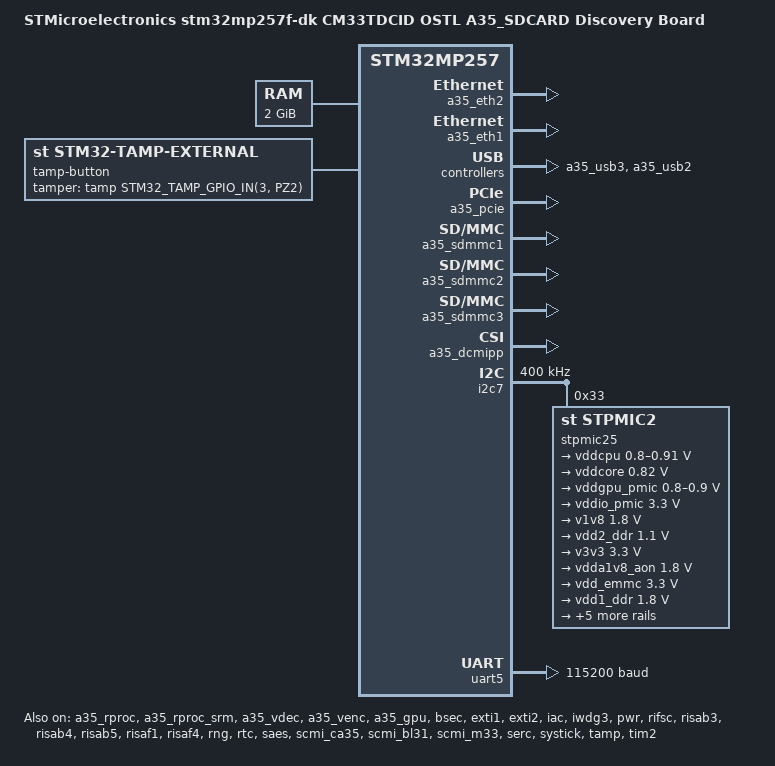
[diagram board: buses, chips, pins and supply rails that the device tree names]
// SPDX-License-Identifier: (GPL-2.0-only OR BSD-3-Clause)
/*
 * Copyright (C) 2025, STMicroelectronics - All Rights Reserved
 */

/dts-v1/;

#include <dt-bindings/clock/stm32mp25-clksrc.h>
#include <dt-bindings/ipcc/stm32mp25-ipcc.h>
#include <dt-bindings/power/stm32mp25-power.h>
#include <dt-bindings/regulator/stm32mp25-regulator.h>
#include <dt-bindings/reset/st,stm32mp25-rcc.h>
#include <dt-bindings/rif/stm32mp25-rif.h>
#include <dt-bindings/rif/stm32mp25-rifsc.h>
#include <dt-bindings/rif/stm32mp2-risaf.h>
#include <dt-bindings/rif/stm32mp25-risab.h>
#include <dt-bindings/tamp/st,stm32mp25-tamp.h>
#include <dt-bindings/gpio/st,stm32mp25-tamp-gpio.h>

#include "stm32mp257.dtsi"
#include "stm32mp25xf.dtsi"
#include "stm32mp257f-dk-cm33tdcid-ostl-resmem.dtsi"
#include "stm32mp257f-dk-cm33tdcid-ostl-rcc.dtsi"
#include "stm32mp257f-dk-cm33tdcid-ostl-scmi.dtsi"
#include "stm32mp257f-dk-cm33tdcid-ostl-s-rif.dtsi"
#include "stm32mp257f-dk-cm33tdcid-ostl-s-rif-ca35-sdcard.dtsi"
#include "stm32mp25-pinctrl.dtsi"
#include "stm32mp25xxai-pinctrl.dtsi"

/ {
	model = "STMicroelectronics stm32mp257f-dk CM33TDCID OSTL A35_SDCARD Discovery Board";
	compatible = "st,stm32mp257f-dk-cm33tdcid-ostl-sdcard", "st,stm32mp257f-dk", "st,stm32mp257";

	aliases {
		serial0 = &uart5;
	};

	chosen {
		stdout-device = &uart5;
		tfm,entropy = &rng;
		tfm,watchdog = &iwdg3;
	};

	memory@80000000 {
		device_type = "memory";
		reg = <0x80000000 0x80000000>;
	};
};

&nvram {
	status = "okay";

	nvmem-layout {
		#address-cells = <1>;
		#size-cells = <1>;
		rsc_tbl_addr_m33td: tamp-bkp@1e4 {
			#nvmem-cell-cells = <0>;
			reg = <0x1e4 0x4>;
		};
		rsc_tbl_size_m33td: tamp-bkp@1e8 {
			#nvmem-cell-cells = <0>;
			reg = <0x1e8 0x4>;
		};
	};
};

&a35_rproc {
	nvmem-cells = <&rsc_tbl_addr_m33td>, <&rsc_tbl_size_m33td>;
	nvmem-cell-names = "rsc_tab_addr","rsc_tab_size";
	regus = <&vddio_sdcard>, <&vdd_sdcard>;

	status = "okay";
};

&a35_rproc_srm {
	status = "okay";
};

&a35_eth2 {
	status = "okay";
};

&a35_eth1 {
	status = "okay";
};

&a35_usb3 {
	status = "okay";
};

&a35_usb2 {
	status = "okay";
};

&a35_vdec {
	status = "okay";
};

&a35_venc {
	status = "okay";
};

&a35_pcie{
	status = "okay";
};

&a35_sdmmc1 {
	status = "okay";
};

&a35_sdmmc2{
	status = "okay";
};

&a35_sdmmc3 {
	status = "okay";
};

&a35_dcmipp {
	status = "okay";
};

&a35_hpdma {
	status = "okay";
};

&a35_gpu {
	vin-supply = <&vddgpu>;
	status = "okay";
};

&bsec {
	memory-region = <&bsec_mirror>;
	status = "okay";
};

&cpu0 {
	enable-method = "remoteproc";
	remoteprocs = <&a35_rproc>;
	cpu-supply = <&vddcpu>;
};

&exti1 {
	status = "okay";
};

&exti2 {
	status = "okay";
};

&hconf1_otp {
	shadow-provisionning = <0x00018db6>;
};

&hpdma1 {
	status = "okay";
};

&hpdma2 {
	status = "okay";
};

&hpdma3 {
	status = "okay";
};

&i2c7 {
	pinctrl-names = "default", "sleep";
	pinctrl-0 = <&i2c7_pins_a>;
	pinctrl-1 = <&i2c7_sleep_pins_a>;
	i2c-scl-rising-time-ns = <185>;
	i2c-scl-falling-time-ns = <20>;
	clock-frequency = <400000>;
	status = "okay";

	#address-cells = <1>;
	#size-cells = <0>;

	stpmic25: pmic@33 {
		compatible = "st,stpmic2";
		reg = <0x33>;
		status = "okay";

		regulators {
			compatible = "st,stpmic2-regulators";

			vddcpu: buck1 {
				regulator-name = "vddcpu";
				regulator-min-microvolt = <800000>;
				regulator-max-microvolt = <910000>;
				regulator-always-on;
				st,pwrctrl-sel = <2>;
				st,pwrctrl-enable;

				default {
					regulator-off-in-suspend;
				};
				lplv {
					regulator-off-in-suspend;
				};
				standby {
					regulator-off-in-suspend;
				};
				off {
					regulator-off-in-suspend;
				};
			};
			vddcore: buck2 {
				regulator-name = "vddcore";
				regulator-min-microvolt = <820000>;
				regulator-max-microvolt = <820000>;
				regulator-always-on;
				st,pwrctrl-sel = <1>;
				st,pwrctrl-enable;

				default {
					regulator-on-in-suspend;
					regulator-suspend-microvolt = <820000>;
				};
				lplv {
					regulator-on-in-suspend;
					regulator-suspend-microvolt = <670000>;
				};
				standby {
					regulator-off-in-suspend;
				};
				off {
					regulator-off-in-suspend;
				};
			};
			vddgpu_pmic: buck3 {
				regulator-name = "vddgpu_pmic";
				regulator-min-microvolt = <800000>;
				regulator-max-microvolt = <900000>;
				regulator-over-current-protection;

				standby {
					regulator-off-in-suspend;
				};
				off {
					regulator-off-in-suspend;
				};
			};
			vddio_pmic: buck4 {
				regulator-name = "vddio_pmic";
				regulator-min-microvolt = <3300000>;
				regulator-max-microvolt = <3300000>;
				regulator-always-on;
				st,mask-reset;
				st,pwrctrl-sel = <1>;
				st,pwrctrl-enable;

				default {
					regulator-on-in-suspend;
					regulator-suspend-microvolt = <3300000>;
				};
				lplv {
					regulator-on-in-suspend;
					regulator-suspend-microvolt = <3300000>;
				};
				standby {
					regulator-on-in-suspend;
					regulator-suspend-microvolt = <3300000>;
				};
				off {
					regulator-on-in-suspend;
					regulator-suspend-microvolt = <3300000>;
				};
			};
			v1v8: buck5 {
				regulator-name = "v1v8";
				regulator-min-microvolt = <1800000>;
				regulator-max-microvolt = <1800000>;
				regulator-always-on;
				st,pwrctrl-sel = <1>;
				st,pwrctrl-enable;

				default {
					regulator-on-in-suspend;
					regulator-suspend-microvolt = <1800000>;
				};
				lplv {
					regulator-on-in-suspend;
					regulator-suspend-microvolt = <1800000>;
				};
				standby {
					regulator-off-in-suspend;
				};
				off {
					regulator-off-in-suspend;
				};
			};
			vdd2_ddr: buck6 {
				regulator-name = "vdd2_ddr";
				regulator-min-microvolt = <1100000>;
				regulator-max-microvolt = <1100000>;
				regulator-always-on;
				st,pwrctrl-sel = <1>;
				st,pwrctrl-enable;

				default {
					regulator-on-in-suspend;
					regulator-suspend-microvolt = <1100000>;
				};
				lplv {
					regulator-on-in-suspend;
					regulator-suspend-microvolt = <1100000>;
				};
				standby {
					regulator-on-in-suspend;
					regulator-suspend-microvolt = <1100000>;
				};
				off {
					regulator-off-in-suspend;
				};
			};
			v3v3: buck7 {
				regulator-name = "v3v3";
				regulator-min-microvolt = <3300000>;
				regulator-max-microvolt = <3300000>;
				regulator-always-on;
				regulator-over-current-protection;
				st,pwrctrl-sel = <1>;
				st,pwrctrl-enable;

				default {
					regulator-on-in-suspend;
					regulator-suspend-microvolt = <3300000>;
				};
				lplv {
					regulator-on-in-suspend;
					regulator-suspend-microvolt = <3300000>;
				};
				standby {
					regulator-off-in-suspend;
				};
				off {
					regulator-off-in-suspend;
				};
			};
			vdda1v8_aon: ldo1 {
				regulator-name = "vdda1v8_aon";
				regulator-min-microvolt = <1800000>;
				regulator-max-microvolt = <1800000>;
				regulator-always-on;
				st,alternate-input-source;
				st,mask-reset;
			};
			vdd_emmc: ldo2 {
				regulator-name = "vdd_emmc";
				regulator-min-microvolt = <3300000>;
				regulator-max-microvolt = <3300000>;
				regulator-over-current-protection;
				st,pwrctrl-sel = <3>;
				st,pwrctrl-reset;
			};
			vdd1_ddr: ldo3 {
				regulator-name = "vdd1_ddr";
				regulator-min-microvolt = <1800000>;
				regulator-max-microvolt = <1800000>;
				regulator-always-on;
				st,pwrctrl-sel = <1>;
				st,pwrctrl-enable;

				default {
					regulator-on-in-suspend;
					regulator-suspend-microvolt = <1800000>;
				};
				lplv {
					regulator-on-in-suspend;
					regulator-suspend-microvolt = <1800000>;
				};
				standby {
					regulator-on-in-suspend;
					regulator-suspend-microvolt = <1800000>;
				};
				off {
					regulator-off-in-suspend;
				};
			};
			vdd3v3_usb: ldo4 {
				regulator-name = "vdd3v3_usb";
				regulator-min-microvolt = <3300000>;
				regulator-max-microvolt = <3300000>;
				regulator-over-current-protection;

				standby {
					regulator-off-in-suspend;
				};
				off {
					regulator-off-in-suspend;
				};
			};
			v5v_hdmi: ldo5 {
				regulator-name = "v5v_hdmi";
				regulator-min-microvolt = <5000000>;
				regulator-max-microvolt = <5000000>;
				st,regulator-bypass-microvolt = <5000000>;
				st,pwrctrl-sel = <0>;
				st,pwrctrl-enable;
			};
			v5v_vconn: ldo6 {
				regulator-name = "v5v_vconn";
				regulator-min-microvolt = <4000000>;
				regulator-max-microvolt = <4000000>;
				regulator-always-on;
				st,regulator-bypass-microvolt = <4000000>;
				st,pwrctrl-sel = <0>;
				st,pwrctrl-reset;
			};
			vdd_sdcard: ldo7 {
				regulator-name = "vdd_sdcard";
				regulator-min-microvolt = <3300000>;
				regulator-max-microvolt = <3300000>;
				regulator-over-current-protection;
				st,regulator-bypass-microvolt = <3300000>;
				st,pwrctrl-sel = <3>;
				st,pwrctrl-reset;
			};
			vddio_sdcard: ldo8 {
				regulator-name = "vddio_sdcard";
				regulator-min-microvolt = <1800000>;
				regulator-max-microvolt = <3300000>;
				regulator-over-current-protection;
				st,regulator-bypass-microvolt = <3300000>;
				st,pwrctrl-sel = <3>;
				st,pwrctrl-reset;
			};
		};
	};
};

&iac {
	status = "okay";
};

&ipcc1 {
	status = "okay";
};

&iwdg3 {
	status = "okay";
	timeout-sec = <120>;
};

&psa_mbox {
	status = "okay";
	mboxes = <&ipcc1 IPCC_CHANNEL(14)>;
	memory-region = <&psa_buffer_cid1_s>;
};

&pwr {
	status = "okay";

	pwr_rif: access-controller {
		status = "okay";
	};

	regulators {
		status = "okay";

		vdd33ucpd: vdd33ucpd {
			status = "okay";
			regulator-min-microvolt = <3300000>;
			regulator-max-microvolt = <3300000>;
			vin-supply = <&vdd3v3_usb>;
			regulator-always-on;
		};

		vdda18adc: vdda18adc {
			status = "okay";
			regulator-min-microvolt = <1800000>;
			regulator-max-microvolt = <1800000>;
			vin-supply = <&v1v8>;
			regulator-always-on;
		};

		vddgpu: vddgpu {
			status = "okay";
			vin-supply = <&vddgpu_pmic>;
		};

		vddio1: vddio1 {
			status = "okay";
			regulator-min-microvolt = <1800000>;
			regulator-max-microvolt = <3300000>;
			vin-supply = <&vddio_sdcard>;
		};

		vddio2: vddio2 {
			status = "okay";
			vin-supply = <&v1v8>;
			regulator-always-on;
		};

		vddio3: vddio3 {
			status = "okay";
			vin-supply = <&vddio_pmic>;
			regulator-always-on;
		};

		vddio4: vddio4 {
			status = "okay";
			vin-supply = <&vddio_pmic>;
			regulator-always-on;
		};

		vddio: vddio {
			status = "okay";
			vin-supply = <&vddio_pmic>;
		};
	};
};

&ramcfg {
	status = "okay";
};

&rifsc {
	status = "okay";
};

&risab3 {
	status = "okay";
};

&risab4 {
	status = "okay";
};

&risab5 {
	status = "okay";
};

&risaf1 {
	status = "okay";
};

&risaf4 {
	status = "okay";
};

&rng {
	status = "okay";
};

&rtc {
	status = "okay";
};

&saes {
	status = "okay";
};

&scmi_ca35 {
	status = "okay";
	memory-region = <&scmi_cid1_ns>;
	mboxes = <&ipcc1 IPCC_CHANNEL(16)>;
	regu-list = <&scmi_vddcore>, <&scmi_v1v8>, <&scmi_v3v3> ,
		    <&scmi_vdd_emmc>, <&scmi_vdd3v3_usb>, <&scmi_vdd_sdcard>,
		    <&scmi_vddio1>, <&scmi_vddio2>, <&scmi_vddio3>,
		    <&scmi_vddio4>, <&scmi_vdd33ucpd>, <&scmi_vdda18adc>,
		    <&scmi_v5v_hdmi>, <&scmi_v5v_vconn>;
	regu-id-max = <STMP25_VOLTD_SCMI_MAX>;

	rst-list = <&scmi_rst_fmc>;
	rst-id-max = <STM32MP25_RST_SCMI_MAX>;
	clk-list = <&scmi_clk_icn_sdmmc>, <&scmi_clk_icn_ddr>,
         <&scmi_clk_icn_display>, <&scmi_clk_icn_hsl>,
         <&scmi_clk_icn_nic>, <&scmi_clk_icn_vid>,
         <&scmi_clk_flexgen_07>, <&scmi_clk_flexgen_08>,
	 <&scmi_clk_flexgen_09>, <&scmi_clk_flexgen_10>,
         <&scmi_clk_flexgen_11>, <&scmi_clk_flexgen_12>,
         <&scmi_clk_flexgen_13>, <&scmi_clk_flexgen_14>,
         <&scmi_clk_flexgen_15>, <&scmi_clk_flexgen_16>,
         <&scmi_clk_flexgen_17>, <&scmi_clk_flexgen_18>,
         <&scmi_clk_flexgen_19>, <&scmi_clk_flexgen_20>,
         <&scmi_clk_flexgen_21>, <&scmi_clk_flexgen_22>,
         <&scmi_clk_flexgen_23>, <&scmi_clk_flexgen_24>,
         <&scmi_clk_flexgen_25>, <&scmi_clk_flexgen_26>,
         <&scmi_clk_flexgen_27>, <&scmi_clk_flexgen_28>,
         <&scmi_clk_flexgen_29>, <&scmi_clk_flexgen_30>,
         <&scmi_clk_flexgen_31>, <&scmi_clk_flexgen_32>,
         <&scmi_clk_flexgen_33>, <&scmi_clk_flexgen_34>,
         <&scmi_clk_flexgen_35>, <&scmi_clk_flexgen_36>,
         <&scmi_clk_flexgen_37>, <&scmi_clk_flexgen_38>,
         <&scmi_clk_flexgen_39>, <&scmi_clk_flexgen_40>,
         <&scmi_clk_flexgen_41>, <&scmi_clk_flexgen_42>,
         <&scmi_clk_flexgen_43>, <&scmi_clk_flexgen_44>,
         <&scmi_clk_flexgen_45>, <&scmi_clk_flexgen_46>,
         <&scmi_clk_flexgen_47>, <&scmi_clk_flexgen_48>,
         <&scmi_clk_flexgen_49>, <&scmi_clk_flexgen_50>,
         <&scmi_clk_flexgen_51>, <&scmi_clk_flexgen_52>,
         <&scmi_clk_flexgen_53>, <&scmi_clk_flexgen_54>,
         <&scmi_clk_flexgen_55>, <&scmi_clk_flexgen_56>,
         <&scmi_clk_flexgen_57>, <&scmi_clk_flexgen_58>,
         <&scmi_clk_flexgen_59>, <&scmi_clk_flexgen_60>,
         <&scmi_clk_flexgen_61>, <&scmi_clk_flexgen_62>,
         <&scmi_clk_flexgen_63>,

         <&scmi_clk_gpioa>, <&scmi_clk_gpiob>,
         <&scmi_clk_gpioc>, <&scmi_clk_gpiod>,
         <&scmi_clk_gpioe>, <&scmi_clk_gpiof>,
         <&scmi_clk_gpiog>, <&scmi_clk_gpioh>,
         <&scmi_clk_gpioi>, <&scmi_clk_gpioj>,
         <&scmi_clk_gpiok>, <&scmi_clk_gpioz>,

         <&scmi_clk_icn_ls_mcu>, <&scmi_clk_hse>,
         <&scmi_clk_lse>, <&scmi_clk_hsi>, <&scmi_clk_lsi>,
         <&scmi_clk_msi>, <&scmi_clk_rtcck>,
         <&scmi_clk_icn_apb1>, <&scmi_clk_icn_apb2>,
         <&scmi_clk_icn_apb3>, <&scmi_clk_icn_apb4>,
         <&scmi_clk_icn_apbdbg>, <&scmi_clk_timg1>,
         <&scmi_clk_timg2>, <&scmi_clk_bkpsram>,
         <&scmi_clk_bsec>, <&scmi_clk_bus_etr>,
         <&scmi_clk_fmc>, <&scmi_clk_hpdma1>,
         <&scmi_clk_hpdma2>, <&scmi_clk_hpdma3>, <&scmi_clk_hsem>,
         <&scmi_clk_ipcc1>, <&scmi_clk_ipcc2>,
         <&scmi_clk_lpdma>, <&scmi_clk_retram>,
         <&scmi_clk_rtc>, <&scmi_clk_sram1>,
         <&scmi_clk_sram2>, <&scmi_clk_syscpu1>,
         <&scmi_clk_hse_div2>,
         <&scmi_clk_pll2>, <&scmi_clk_pll3>,
         <&scmi_clk_lpsram1>, <&scmi_clk_lpsram2>,
         <&scmi_clk_lpsram3>, <&scmi_clk_vderam>,
         <&scmi_clk_sysram>, <&scmi_clk_ospi1>,
         <&scmi_clk_ospi2>, <&scmi_clk_tpiu>,
         <&scmi_clk_sysdbg>, <&scmi_clk_sysatb>,
         <&scmi_clk_tsdbg>, <&scmi_clk_ker_etr>,
         <&scmi_clk_bus_stm>, <&scmi_clk_hsi_ker_ck>,
         <&scmi_clk_hse_ker_ck>, <&scmi_clk_msi_ker_ck>,
         <&scmi_clk_gpioz_am>, <&scmi_clk_ipcc2_am>,
         <&scmi_clk_lpdma_am>, <&scmi_clk_rtc_am>,
         <&scmi_clk_ker_stm>;

	clk-id-max = <STM32MP25_CK_SCMI_MAX>;

	pd-list = <&scmi_pd_gpu>;
	pd-id-max = <STM32MP25_PD_SCMI_MAX>;
};

&scmi_bl31 {
	status = "okay";
	memory-region = <&scmi_cid1_s>;
	mboxes = <&ipcc1 IPCC_CHANNEL(15)>;
	regu-list = <&scmi_vddcpu>;
	regu-id-max = <(VOLTD_SCMI_STPMIC2_BUCK1+1)>;
};

&scmi_m33 {
	status = "okay";
	regu-list = <&scmi_vddcore>, <&scmi_v1v8>, <&scmi_v3v3>,
		      <&scmi_vdd3v3_usb>;
	regu-id-max = <STMP25_VOLTD_SCMI_MAX>;

	rst-list = <&scmi_rst_fmc>;
	rst-id-max = <STM32MP25_RST_SCMI_MAX>;
	clk-list = <&scmi_clk_icn_display>, <&scmi_clk_gpiob>, <&scmi_clk_flexgen_27>,
		      <&scmi_clk_flexgen_07>, <&scmi_clk_flexgen_08>,
		      <&scmi_clk_flexgen_09>, <&scmi_clk_flexgen_10>;
	clk-id-max = <STM32MP25_CK_SCMI_MAX>;

};

&serc {
	status = "okay";
};

&systick {
	clocks = <&rcc CK_ICN_HS_MCU>;
	clock-frequency = <1000000>; /* tick at 1us */
	status = "okay";
};

&tamp {
	status = "okay";
	st,tamp-passive-precharge = <2>;
	st,tamp-passive-nb-sample = <4>;
	st,tamp-passive-sample-clk-div = <16384>;
	st,tamp-active-filter = <1>;
	st,tamp-active-clk-div = <2048>;

	tamp-button {
		compatible = "st,stm32-tamp-external";
		tamper-gpios = <&tamp STM32_TAMP_GPIO_IN(3, PZ2) 0>;
		st,tamp-mode = <TAMPER_CONFIRMED_MODE>;
		st,tamp-id = <3>;
		status = "okay";
	};
};

&tim2 {
	status = "okay";
};

&uart5 {
	pinctrl-names = "default", "sleep";
	pinctrl-0 = <&uart5_pins_a>;
	pinctrl-1 = <&uart5_sleep_pins_a>;
	clocks = <&rcc CK_KER_UART5>;
	current-speed = <115200>;
	status = "okay";
};

&sau {
	memory-region = <&cm33_cube_fw>, <&cm33_cube_data>, <&scmi_cid1_ns>, <&ipc_shmem>, <&ltdc_m33_layer>, <&fwu_shmem>;
};

&syscfg {
	st,reg-init = <STM32MP25_SYSCFG_ICNE2EBWRCR 0x00000051>,
		      <STM32MP25_SYSCFG_ICNGPUBWLCR 0x00004009>,
		      <STM32MP25_SYSCFG_ICNQPCR2 0x2149865A>,
		      <STM32MP25_SYSCFG_ICNCPU1BWLCR 0x00005002>;
};
